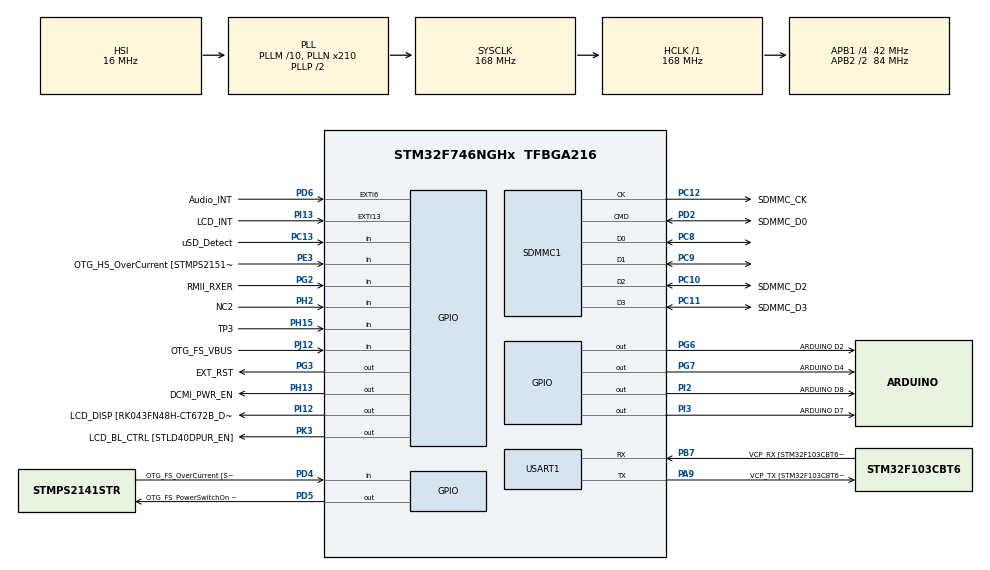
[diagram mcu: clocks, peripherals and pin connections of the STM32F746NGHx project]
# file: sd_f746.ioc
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Dma.Request0=SDMMC1_RX
Dma.Request1=SDMMC1_TX
Dma.SDMMC1_RX.0.Direction=DMA_PERIPH_TO_MEMORY
Dma.SDMMC1_RX.0.FIFOMode=DMA_FIFOMODE_ENABLE
Dma.SDMMC1_RX.0.FIFOThreshold=DMA_FIFO_THRESHOLD_FULL
Dma.SDMMC1_RX.0.Instance=DMA2_Stream3
Dma.SDMMC1_RX.0.MemBurst=DMA_MBURST_INC4
Dma.SDMMC1_RX.0.MemDataAlignment=DMA_MDATAALIGN_WORD
Dma.SDMMC1_RX.0.MemInc=DMA_MINC_ENABLE
Dma.SDMMC1_RX.0.Mode=DMA_PFCTRL
Dma.SDMMC1_RX.0.PeriphBurst=DMA_PBURST_INC4
Dma.SDMMC1_RX.0.PeriphDataAlignment=DMA_PDATAALIGN_WORD
Dma.SDMMC1_RX.0.PeriphInc=DMA_PINC_DISABLE
Dma.SDMMC1_RX.0.Priority=DMA_PRIORITY_LOW
Dma.SDMMC1_TX.1.Direction=DMA_MEMORY_TO_PERIPH
Dma.SDMMC1_TX.1.FIFOMode=DMA_FIFOMODE_ENABLE
Dma.SDMMC1_TX.1.FIFOThreshold=DMA_FIFO_THRESHOLD_FULL
Dma.SDMMC1_TX.1.Instance=DMA2_Stream6
Dma.SDMMC1_TX.1.MemBurst=DMA_MBURST_INC4
Dma.SDMMC1_TX.1.MemDataAlignment=DMA_MDATAALIGN_WORD
Dma.SDMMC1_TX.1.MemInc=DMA_MINC_ENABLE
Dma.SDMMC1_TX.1.Mode=DMA_PFCTRL
Dma.SDMMC1_TX.1.PeriphBurst=DMA_PBURST_INC4
Dma.SDMMC1_TX.1.PeriphDataAlignment=DMA_PDATAALIGN_WORD
Dma.SDMMC1_TX.1.PeriphInc=DMA_PINC_DISABLE
Dma.SDMMC1_TX.1.Priority=DMA_PRIORITY_LOW
FATFS.BSP.number=1
FATFS0.BSP.STBoard=false
FATFS0.BSP.api=Unknown
FATFS0.BSP.instance=PC13
FATFS0.BSP.ip=GPIO
FATFS0.BSP.mode=Input
FATFS0.BSP.name=Detect_SDIO
FATFS0.BSP.solution=PC13
FREERTOS.Tasks01=defaultTask,24,1024,StartDefaultTask,Default,NULL,Dynamic,NULL,NULL
Mcu.Family=STM32F7
Mcu.Name=STM32F746NGHx
Mcu.Package=TFBGA216
NVIC.DMA2_Stream3_IRQn=true\:5\:0\:false\:false\:true\:true\:false\:true\:true
NVIC.DMA2_Stream6_IRQn=true\:5\:0\:false\:false\:true\:true\:false\:true\:true
NVIC.PriorityGroup=NVIC_PRIORITYGROUP_4
NVIC.SDMMC1_IRQn=true\:5\:0\:false\:false\:true\:true\:true\:true\:true
NVIC.TIM6_DAC_IRQn=true\:15\:0\:false\:false\:true\:false\:false\:true\:true
NVIC.TimeBase=TIM6_DAC_IRQn
NVIC.TimeBaseIP=TIM6
PA0/WKUP.GPIO_Label=ARDUINO A0
PA0/WKUP.GPIO_Mode=GPIO_MODE_ANALOG
PA0/WKUP.GPIO_PuPd=GPIO_NOPULL
PA0/WKUP.Signal=ADCx_IN0
PA1.GPIO_Label=RMII_REF_CLK [LAN8742A-CZ-TR_REFCLK0]
PA1.Signal=ETH_REF_CLK
PA10.GPIO_Label=OTG_FS_ID
PA10.Signal=USB_OTG_FS_ID
PA11.GPIO_Label=OTG_FS_N
PA11.Signal=USB_OTG_FS_DM
PA12.GPIO_Label=OTG_FS_P
PA12.Signal=USB_OTG_FS_DP
PA13.GPIO_Label=SWDIO
PA13.Mode=Trace_Asynchronous_SW
PA13.Signal=SYS_JTMS-SWDIO
PA14.GPIO_Label=SWCLK
PA14.Mode=Trace_Asynchronous_SW
PA14.Signal=SYS_JTCK-SWCLK
PA15.GPIO_Label=ARDUINO PWM/D9
PA15.GPIO_ModeDefaultPP=GPIO_MODE_AF_PP
PA15.GPIO_PuPd=GPIO_NOPULL
PA15.GPIO_Speed=GPIO_SPEED_FREQ_LOW
PA15.Signal=S_TIM2_CH1_ETR
PA2.GPIO_Label=RMII_MDIO [LAN8742A-CZ-TR_MDIO]
PA2.Signal=ETH_MDIO
PA3.GPIO_Label=ULPI_D0 [USB3320C-EZK_D0]
PA3.Signal=USB_OTG_HS_ULPI_D0
PA4.GPIO_Label=DCMI_HSYNC
PA4.Signal=DCMI_HSYNC
PA5.GPIO_Label=ULPI_CLK [USB3320C-EZK_CLKOUT]
PA5.Signal=USB_OTG_HS_ULPI_CK
PA6.Signal=DCMI_PIXCLK
PA7.GPIO_Label=RMII_CRS_DV [LAN8742A-CZ-TR_CRS_DV]
PA7.Signal=ETH_CRS_DV
PA8.GPIO_Label=ARDUINO PWM/D10
PA8.GPIO_ModeDefaultPP=GPIO_MODE_AF_PP
PA8.GPIO_PuPd=GPIO_NOPULL
PA8.GPIO_Speed=GPIO_SPEED_FREQ_LOW
PA8.Signal=S_TIM1_CH1
PA9.GPIO_Label=VCP_TX [STM32F103CBT6_PA3]
PA9.GPIO_Mode=GPIO_MODE_AF_PP
PA9.GPIO_PuPd=GPIO_NOPULL
PA9.GPIO_Speed=GPIO_SPEED_FREQ_LOW
PA9.Mode=Asynchronous
PA9.Signal=USART1_TX
PB0.GPIO_Label=ULPI_D1 [USB3320C-EZK_D1]
PB0.Signal=USB_OTG_HS_ULPI_D1
PB1.GPIO_Label=ULPI_D2 [USB3320C-EZK_D2]
PB1.Signal=USB_OTG_HS_ULPI_D2
PB10.GPIO_Label=ULPI_D3 [USB3320C-EZK_D3]
PB10.Signal=USB_OTG_HS_ULPI_D3
PB11.GPIO_Label=ULPI_D4 [USB3320C-EZK_D4]
PB11.Signal=USB_OTG_HS_ULPI_D4
PB12.GPIO_Label=ULPI_D5 [USB3320C-EZK_D5]
PB12.Signal=USB_OTG_HS_ULPI_D5
PB13.GPIO_Label=ULPI_D6 [USB3320C-EZK_D6]
PB13.Signal=USB_OTG_HS_ULPI_D6
PB14.GPIO_Label=ARDUINO MISO/D12
PB14.GPIO_Mode=GPIO_MODE_AF_PP
PB14.GPIO_PuPd=GPIO_NOPULL
PB14.GPIO_Speed=GPIO_SPEED_FREQ_LOW
PB14.Signal=SPI2_MISO
PB15.GPIO_Label=ARDUINO MOSI/PWM/D11
PB15.GPIO_Mode=GPIO_MODE_AF_PP
PB15.GPIO_PuPd=GPIO_NOPULL
PB15.GPIO_Speed=GPIO_SPEED_FREQ_LOW
PB15.Signal=SPI2_MOSI
PB2.Signal=QUADSPI_CLK
PB3.GPIO_Label=SWO
PB3.Mode=Trace_Asynchronous_SW
PB3.Signal=SYS_JTDO-SWO
PB4.GPIO_Label=ARDUINO PWM/D3
PB4.GPIO_ModeDefaultPP=GPIO_MODE_AF_PP
PB4.GPIO_PuPd=GPIO_NOPULL
PB4.GPIO_Speed=GPIO_SPEED_FREQ_LOW
PB4.Signal=S_TIM3_CH1
PB5.GPIO_Label=ULPI_D7 [USB3320C-EZK_D7]
PB5.Signal=USB_OTG_HS_ULPI_D7
PB6.GPIO_Label=QSPI_NCS [N25Q128A13EF840E_S]
PB6.Signal=QUADSPI_BK1_NCS
PB7.GPIO_Label=VCP_RX [STM32F103CBT6_PA2]
PB7.GPIO_Mode=GPIO_MODE_AF_PP
PB7.GPIO_PuPd=GPIO_NOPULL
PB7.GPIO_Speed=GPIO_SPEED_FREQ_LOW
PB7.Mode=Asynchronous
PB7.Signal=USART1_RX
PB8.GPIO_Label=ARDUINO SCL/D15
PB8.GPIO_Mode=GPIO_MODE_AF_OD
PB8.GPIO_PuPd=GPIO_NOPULL
PB8.GPIO_Speed=GPIO_SPEED_FREQ_LOW
PB8.Signal=I2C1_SCL
PB9.GPIO_Label=ARDUINO SDA/D14
PB9.GPIO_Mode=GPIO_MODE_AF_OD
PB9.GPIO_PuPd=GPIO_NOPULL
PB9.GPIO_Speed=GPIO_SPEED_FREQ_LOW
PB9.Signal=I2C1_SDA
PC0.GPIO_Label=ULPI_STP [USB3320C-EZK_STP]
PC0.Signal=USB_OTG_HS_ULPI_STP
PC1.GPIO_Label=RMII_MDC [LAN8742A-CZ-TR_MDC]
PC1.Signal=ETH_MDC
PC10.GPIO_Label=SDMMC_D2
PC10.Mode=SD_4_bits_Wide_bus
PC10.Signal=SDMMC1_D2
PC11.GPIO_Label=SDMMC_D3
PC11.Mode=SD_4_bits_Wide_bus
PC11.Signal=SDMMC1_D3
PC12.GPIO_Label=SDMMC_CK
PC12.Mode=SD_4_bits_Wide_bus
PC12.Signal=SDMMC1_CK
PC13.GPIO_Label=uSD_Detect
PC13.Signal=GPIO_Input
PC14/OSC32_IN.GPIO_Label=RCC_OSC32_IN
PC14/OSC32_IN.Signal=RCC_OSC32_IN
PC15/OSC32_OUT.GPIO_Label=RCC_OSC32_OUT
PC15/OSC32_OUT.Signal=RCC_OSC32_OUT
PC2.GPIO_Label=ULPI_DIR [USB3320C-EZK_DIR]
PC2.Signal=USB_OTG_HS_ULPI_DIR
PC3.GPIO_Label=FMC_SDCKE0 [MT48LC4M32B2B5-6A_CKE]
PC3.Signal=FMC_SDCKE0
PC4.GPIO_Label=RMII_RXD0 [LAN8742A-CZ-TR_RXD0]
PC4.Signal=ETH_RXD0
PC5.GPIO_Label=RMII_RXD1 [LAN8742A-CZ-TR_RXD1]
PC5.Signal=ETH_RXD1
PC6.GPIO_Label=ARDUINO TX/D1
PC6.Signal=USART6_TX
PC7.GPIO_Label=ARDUINO RX/D0
PC7.Signal=USART6_RX
PC8.Mode=SD_4_bits_Wide_bus
PC8.Signal=SDMMC1_D0
PC9.Mode=SD_4_bits_Wide_bus
PC9.Signal=SDMMC1_D1
PD0.GPIO_Label=FMC_D2 [MT48LC4M32B2B5-6A_DQ2]
PD0.Signal=FMC_D2_DA2
PD1.GPIO_Label=FMC_D3 [MT48LC4M32B2B5-6A_DQ3]
PD1.Signal=FMC_D3_DA3
PD10.GPIO_Label=FMC_D15 [MT48LC4M32B2B5-6A_DQ15]
PD10.Signal=FMC_D15_DA15
PD11.GPIO_Label=QSPI_D0 [N25Q128A13EF840E_DQ0]
PD11.Signal=QUADSPI_BK1_IO0
PD12.GPIO_Label=QSPI_D1 [N25Q128A13EF840E_DQ1]
PD12.Signal=QUADSPI_BK1_IO1
PD13.GPIO_Label=QSPI_D3 [N25Q128A13EF840E_DQ3]
PD13.Signal=QUADSPI_BK1_IO3
PD14.GPIO_Label=FMC_D0 [MT48LC4M32B2B5-6A_DQ0]
PD14.Signal=FMC_D0_DA0
PD15.GPIO_Label=FMC_D1 [MT48LC4M32B2B5-6A_DQ1]
PD15.Signal=FMC_D1_DA1
PD2.GPIO_Label=SDMMC_D0
PD2.Mode=SD_4_bits_Wide_bus
PD2.Signal=SDMMC1_CMD
PD3.GPIO_Label=DCMI_D5
PD3.Signal=DCMI_D5
PD4.GPIO_Label=OTG_FS_OverCurrent [STMPS2141STR_Fault]
PD4.Signal=GPIO_Input
PD5.GPIO_Label=OTG_FS_PowerSwitchOn [STMPS2141STR_EN]
PD5.PinState=GPIO_PIN_SET
PD5.Signal=GPIO_Output
PD6.GPIO_Label=Audio_INT
PD6.GPIO_ModeDefaultEXTI=GPIO_MODE_EVT_RISING
PD6.Signal=GPXTI6
PD7.GPIO_Label=SPDIF_RX0 [74LVC1G04SE_4]
PD7.Signal=SPDIFRX_IN0
PD8.GPIO_Label=FMC_D13 [MT48LC4M32B2B5-6A_DQ13]
PD8.Signal=FMC_D13_DA13
PD9.GPIO_Label=FMC_D14 [MT48LC4M32B2B5-6A_DQ14]
PD9.Signal=FMC_D14_DA14
PE0.GPIO_Label=FMC_NBL0 [MT48LC4M32B2B5-6A_DQM0]
PE0.Signal=FMC_NBL0
PE1.GPIO_Label=FMC_NBL1 [MT48LC4M32B2B5-6A_DQM1]
PE1.Signal=FMC_NBL1
PE10.GPIO_Label=FMC_D7 [MT48LC4M32B2B5-6A_DQ7]
PE10.Signal=FMC_D7_DA7
PE11.GPIO_Label=FMC_D8 [MT48LC4M32B2B5-6A_DQ8]
PE11.Signal=FMC_D8_DA8
PE12.GPIO_Label=FMC_D9 [MT48LC4M32B2B5-6A_DQ9]
PE12.Signal=FMC_D9_DA9
PE13.GPIO_Label=FMC_D10 [MT48LC4M32B2B5-6A_DQ10]
PE13.Signal=FMC_D10_DA10
PE14.GPIO_Label=FMC_D11 [MT48LC4M32B2B5-6A_DQ11]
PE14.Signal=FMC_D11_DA11
PE15.GPIO_Label=FMC_D12 [MT48LC4M32B2B5-6A_DQ12]
PE15.Signal=FMC_D12_DA12
PE2.GPIO_Label=QSPI_D2 [N25Q128A13EF840E_DQ2]
PE2.Signal=QUADSPI_BK1_IO2
PE3.GPIO_Label=OTG_HS_OverCurrent [STMPS2151STR_FAULT]
PE3.Signal=GPIO_Input
PE4.GPIO_Label=LCD_B0 [RK043FN48H-CT672B_B0]
PE4.Signal=LTDC_B0
PE5.GPIO_Label=DCMI_D6
PE5.Signal=DCMI_D6
PE6.GPIO_Label=DCMI_D7
PE6.Signal=DCMI_D7
PE7.GPIO_Label=FMC_D4 [MT48LC4M32B2B5-6A_DQ4]
PE7.Signal=FMC_D4_DA4
PE8.GPIO_Label=FMC_D5 [MT48LC4M32B2B5-6A_DQ5]
PE8.Signal=FMC_D5_DA5
PE9.GPIO_Label=FMC_D6 [MT48LC4M32B2B5-6A_DQ6]
PE9.Signal=FMC_D6_DA6
PF0.GPIO_Label=FMC_A0 [MT48LC4M32B2B5-6A_A0]
PF0.Signal=FMC_A0
PF1.GPIO_Label=FMC_A1 [MT48LC4M32B2B5-6A_A1]
PF1.Signal=FMC_A1
PF10.GPIO_Label=ARDUINO A1
PF10.GPIO_Mode=GPIO_MODE_ANALOG
PF10.GPIO_PuPd=GPIO_NOPULL
PF10.Signal=ADC3_IN8
PF11.GPIO_Label=FMC_SDNRAS [MT48LC4M32B2B5-6A_RAS]
PF11.Signal=FMC_SDNRAS
PF12.GPIO_Label=FMC_A6 [MT48LC4M32B2B5-6A_A6]
PF12.Signal=FMC_A6
PF13.GPIO_Label=FMC_A7 [MT48LC4M32B2B5-6A_A7]
PF13.Signal=FMC_A7
PF14.GPIO_Label=FMC_A8 [MT48LC4M32B2B5-6A_A8]
PF14.Signal=FMC_A8
PF15.GPIO_Label=FMC_A9 [MT48LC4M32B2B5-6A_A9]
PF15.Signal=FMC_A9
PF2.GPIO_Label=FMC_A2 [MT48LC4M32B2B5-6A_A2]
PF2.Signal=FMC_A2
PF3.GPIO_Label=FMC_A3 [MT48LC4M32B2B5-6A_A3]
PF3.Signal=FMC_A3
PF4.GPIO_Label=FMC_A4 [MT48LC4M32B2B5-6A_A4]
PF4.Signal=FMC_A4
PF5.GPIO_Label=FMC_A5 [MT48LC4M32B2B5-6A_A5]
PF5.Signal=FMC_A5
PF6.GPIO_Label=ARDUINO A5
PF6.GPIO_Mode=GPIO_MODE_ANALOG
PF6.GPIO_PuPd=GPIO_NOPULL
PF6.Signal=ADC3_IN4
PF7.GPIO_Label=ARDUINO A4
PF7.GPIO_Mode=GPIO_MODE_ANALOG
PF7.GPIO_PuPd=GPIO_NOPULL
PF7.Signal=ADC3_IN5
PF8.GPIO_Label=ARDUINO A3
PF8.GPIO_Mode=GPIO_MODE_ANALOG
PF8.GPIO_PuPd=GPIO_NOPULL
PF8.Signal=ADC3_IN6
PF9.GPIO_Label=ARDUINO A2
PF9.GPIO_Mode=GPIO_MODE_ANALOG
PF9.GPIO_PuPd=GPIO_NOPULL
PF9.Signal=ADC3_IN7
PG0.GPIO_Label=FMC_A10 [MT48LC4M32B2B5-6A_A10]
PG0.Signal=FMC_A10
PG1.GPIO_Label=FMC_A11 [MT48LC4M32B2B5-6A_A11]
PG1.Signal=FMC_A11
PG10.GPIO_Label=SAI2_SDB [WM8994ECS/R_ADCDAT1]
PG10.Signal=SAI2_SD_B
PG11.GPIO_Label=RMII_TX_EN [LAN8742A-CZ-TR_TXEN]
PG11.Signal=ETH_TX_EN
PG12.GPIO_Label=LCD_B4 [RK043FN48H-CT672B_B4]
PG12.Signal=LTDC_B4
PG13.GPIO_Label=RMII_TXD0 [LAN8742A-CZ-TR_TXD0]
PG13.Signal=ETH_TXD0
PG14.GPIO_Label=RMII_TXD1 [LAN8742A-CZ-TR_TXD1]
PG14.Signal=ETH_TXD1
PG15.GPIO_Label=FMC_SDNCAS [MT48LC4M32B2B5-6A_CAS]
PG15.Signal=FMC_SDNCAS
PG2.GPIO_Label=RMII_RXER
PG2.Signal=GPIO_Input
PG3.GPIO_Label=EXT_RST
PG3.Signal=GPIO_Output
PG4.GPIO_Label=FMC_BA0 [MT48LC4M32B2B5-6A_BA0]
PG4.Signal=FMC_A14_BA0
PG5.GPIO_Label=FMC_BA1 [MT48LC4M32B2B5-6A_BA1]
PG5.Signal=FMC_A15_BA1
PG6.GPIO_Label=ARDUINO D2
PG6.Signal=GPIO_Output
PG7.GPIO_Label=ARDUINO D4
PG7.Signal=GPIO_Output
PG8.GPIO_Label=FMC_SDCLK [MT48LC4M32B2B5-6A_CLK]
PG8.Signal=FMC_SDCLK
PG9.GPIO_Label=DCMI_VSYNC
PG9.Signal=DCMI_VSYNC
PH0/OSC_IN.GPIO_Label=OSC_25M [NZ2520SB-25.00M_OUT]
PH0/OSC_IN.Mode=HSE-External-Oscillator
PH0/OSC_IN.Signal=RCC_OSC_IN
PH1/OSC_OUT.Mode=HSE-External-Oscillator
PH1/OSC_OUT.Signal=RCC_OSC_OUT
PH10.GPIO_Label=DCMI_D1
PH10.Signal=DCMI_D1
PH11.GPIO_Label=DCMI_D2
PH11.Signal=DCMI_D2
PH12.GPIO_Label=DCMI_D3
PH12.Signal=DCMI_D3
PH13.GPIO_Label=DCMI_PWR_EN
PH13.Signal=GPIO_Output
PH14.GPIO_Label=DCMI_D4
PH14.Signal=DCMI_D4
PH15.GPIO_Label=TP3
PH15.Signal=GPIO_Input
PH2.GPIO_Label=NC2
PH2.Signal=GPIO_Input
PH3.GPIO_Label=FMC_SDNE0 [MT48LC4M32B2B5-6A_CS]
PH3.Signal=FMC_SDNE0
PH4.GPIO_Label=ULPI_NXT [USB3320C-EZK_NXT]
PH4.Signal=USB_OTG_HS_ULPI_NXT
PH5.GPIO_Label=FMC_SDNME [MT48LC4M32B2B5-6A_WE]
PH5.Signal=FMC_SDNWE
PH6.GPIO_Label=ARDUINO PWM/D6
PH6.Signal=S_TIM12_CH1
PH7.GPIO_Label=LCD_SCL [RK043FN48H-CT672B_SCL]
PH7.Signal=I2C3_SCL
PH8.GPIO_Label=LCD_SDA [RK043FN48H-CT672B_SDA]
PH8.Signal=I2C3_SDA
PH9.GPIO_Label=DCMI_D0
PH9.Signal=DCMI_D0
PI0.GPIO_Label=ARDUINO PWM/CS/D5
PI0.GPIO_ModeDefaultPP=GPIO_MODE_AF_PP
PI0.GPIO_PuPd=GPIO_NOPULL
PI0.GPIO_Speed=GPIO_SPEED_FREQ_LOW
PI0.Signal=S_TIM5_CH4
PI1.GPIO_Label=ARDUINO SCK/D13
PI1.GPIO_Mode=GPIO_MODE_AF_PP
PI1.GPIO_PuPd=GPIO_NOPULL
PI1.GPIO_Speed=GPIO_SPEED_FREQ_LOW
PI1.Signal=SPI2_SCK
PI10.GPIO_Label=LCD_HSYNC [RK043FN48H-CT672B_HSYNC]
PI10.Signal=LTDC_HSYNC
PI12.GPIO_Label=LCD_DISP [RK043FN48H-CT672B_DISP] 
PI12.Signal=GPIO_Output
PI13.GPIO_Label=LCD_INT
PI13.GPIO_ModeDefaultEXTI=GPIO_MODE_EVT_RISING
PI13.Signal=GPXTI13
PI14.GPIO_Label=LCD_CLK [RK043FN48H-CT672B_CLK]
PI14.Signal=LTDC_CLK
PI15.GPIO_Label=LCD_R0 [RK043FN48H-CT672B_R0]
PI15.Signal=LTDC_R0
PI2.GPIO_Label=ARDUINO D8
PI2.Signal=GPIO_Output
PI3.GPIO_Label=ARDUINO D7
PI3.Signal=GPIO_Output
PI4.GPIO_Label=SAI2_MCLKA [WM8994ECS/R_MCLK1]
PI4.Signal=SAI2_MCLK_A
PI5.GPIO_Label=SAI2_SCKA [WM8994ECS/R_BCLK1]
PI5.Signal=SAI2_SCK_A
PI6.GPIO_Label=SAI2_SDA [WM8994ECS/R_DACDAT1]
PI6.Signal=SAI2_SD_A
PI7.GPIO_Label=SAI2_FSA [WM8994ECS/R_LRCLK1]
PI7.Signal=SAI2_FS_A
PI8.GPIO_Label=NC1 [TP2]
PI8.Signal=RTC_TS
PI9.GPIO_Label=LCD_VSYNC [RK043FN48H-CT672B_VSYNC]
PI9.Signal=LTDC_VSYNC
PJ0.GPIO_Label=LCD_R1 [RK043FN48H-CT672B_R1]
PJ0.Signal=LTDC_R1
PJ1.GPIO_Label=LCD_R2 [RK043FN48H-CT672B_R2]
PJ1.Signal=LTDC_R2
PJ10.GPIO_Label=LCD_G3 [RK043FN48H-CT672B_G3]
PJ10.Signal=LTDC_G3
PJ11.GPIO_Label=LCD_G4 [RK043FN48H-CT672B_G4]
PJ11.Signal=LTDC_G4
PJ12.GPIO_Label=OTG_FS_VBUS
PJ12.Signal=GPIO_Input
PJ13.GPIO_Label=LCD_B1 [RK043FN48H-CT672B_B1]
PJ13.Signal=LTDC_B1
PJ14.GPIO_Label=LCD_B2 [RK043FN48H-CT672B_B2]
PJ14.Signal=LTDC_B2
PJ15.GPIO_Label=LCD_B3 [RK043FN48H-CT672B_B3]
PJ15.Signal=LTDC_B3
PJ2.GPIO_Label=LCD_R3 [RK043FN48H-CT672B_R3]
PJ2.Signal=LTDC_R3
PJ3.GPIO_Label=LCD_R4 [RK043FN48H-CT672B_R4]
PJ3.Signal=LTDC_R4
PJ4.GPIO_Label=LCD_R5 [RK043FN48H-CT672B_R5]
PJ4.Signal=LTDC_R5
PJ5.GPIO_Label=LCD_R6 [RK043FN48H-CT672B_R6]
PJ5.Signal=LTDC_R6
PJ6.GPIO_Label=LCD_R7 [RK043FN48H-CT672B_R7]
PJ6.Signal=LTDC_R7
PJ7.GPIO_Label=LCD_G0 [RK043FN48H-CT672B_G0]
PJ7.Signal=LTDC_G0
PJ8.GPIO_Label=LCD_G1 [RK043FN48H-CT672B_G1]
PJ8.Signal=LTDC_G1
PJ9.GPIO_Label=LCD_G2 [RK043FN48H-CT672B_G2]
PJ9.Signal=LTDC_G2
PK0.GPIO_Label=LCD_G5 [RK043FN48H-CT672B_G5]
PK0.Signal=LTDC_G5
PK1.GPIO_Label=LCD_G6 [RK043FN48H-CT672B_G6]
PK1.Signal=LTDC_G6
PK2.GPIO_Label=LCD_G7 [RK043FN48H-CT672B_G7]
PK2.Signal=LTDC_G7
PK3.GPIO_Label=LCD_BL_CTRL [STLD40DPUR_EN]
PK3.Signal=GPIO_Output
PK4.GPIO_Label=LCD_B5 [RK043FN48H-CT672B_B5]
PK4.Signal=LTDC_B5
PK5.GPIO_Label=LCD_B6 [RK043FN48H-CT672B_B6]
PK5.Signal=LTDC_B6
PK6.GPIO_Label=LCD_B7 [RK043FN48H-CT672B_B7]
PK6.Signal=LTDC_B7
PK7.GPIO_Label=LCD_DE [RK043FN48H-CT672B_DE]
PK7.Signal=LTDC_DE
ProjectManager.HeapSize=0x200
ProjectManager.StackSize=0x400
ProjectManager.TargetToolchain=CMake
RCC.AHBFreq_Value=168000000
RCC.APB1CLKDivider=RCC_HCLK_DIV4
RCC.APB1Freq_Value=42000000
RCC.APB1TimFreq_Value=84000000
RCC.APB2CLKDivider=RCC_HCLK_DIV2
RCC.APB2Freq_Value=84000000
RCC.APB2TimFreq_Value=168000000
RCC.CortexFreq_Value=168000000
RCC.HCLKFreq_Value=168000000
RCC.HSE_VALUE=25000000
RCC.HSI_VALUE=16000000
RCC.LSE_VALUE=32768
RCC.PLL48CLockSelection=RCC_CLK48SOURCE_PLLSAIP
RCC.PLLM=10
RCC.PLLN=210
RCC.PLLQ=7
RCC.PLLSAIN=180
RCC.PLLSAIP=RCC_PLLSAIP_DIV6
RCC.PLLSourceVirtual=RCC_PLLSOURCE_HSI
RCC.SDMMCClockSelection=RCC_SDMMC1CLKSOURCE_CLK48
RCC.SYSCLKFreq_VALUE=168000000
RCC.SYSCLKSource=RCC_SYSCLKSOURCE_PLLCLK
RCC.USBFreq_Value=48000000
RCC.VCOOutputFreq_Value=336000000
SH.ADCx_IN0.0=ADC3_IN0
SH.FMC_A0.0=FMC_A0
SH.FMC_A1.0=FMC_A1
SH.FMC_A10.0=FMC_A10
SH.FMC_A11.0=FMC_A11
SH.FMC_A14_BA0.0=FMC_BA0
SH.FMC_A15_BA1.0=FMC_BA1
SH.FMC_A2.0=FMC_A2
SH.FMC_A3.0=FMC_A3
SH.FMC_A4.0=FMC_A4
SH.FMC_A5.0=FMC_A5
SH.FMC_A6.0=FMC_A6
SH.FMC_A7.0=FMC_A7
SH.FMC_A8.0=FMC_A8
SH.FMC_A9.0=FMC_A9
SH.FMC_D0_DA0.0=FMC_D0
SH.FMC_D10_DA10.0=FMC_D10
SH.FMC_D11_DA11.0=FMC_D11
SH.FMC_D12_DA12.0=FMC_D12
SH.FMC_D13_DA13.0=FMC_D13
SH.FMC_D14_DA14.0=FMC_D14
SH.FMC_D15_DA15.0=FMC_D15
SH.FMC_D1_DA1.0=FMC_D1
SH.FMC_D2_DA2.0=FMC_D2
SH.FMC_D3_DA3.0=FMC_D3
SH.FMC_D4_DA4.0=FMC_D4
SH.FMC_D5_DA5.0=FMC_D5
SH.FMC_D6_DA6.0=FMC_D6
SH.FMC_D7_DA7.0=FMC_D7
SH.FMC_D8_DA8.0=FMC_D8
SH.FMC_D9_DA9.0=FMC_D9
SH.FMC_NBL0.0=FMC_NBL0
SH.FMC_NBL1.0=FMC_NBL1
SH.FMC_SDCLK.0=FMC_SDCLK
SH.FMC_SDNCAS.0=FMC_SDNCAS
SH.FMC_SDNRAS.0=FMC_SDNRAS
SH.FMC_SDNWE.0=FMC_SDNWE
SH.S_TIM12_CH1.0=TIM12_CH1
SH.S_TIM1_CH1.0=TIM1_CH1
SH.S_TIM2_CH1_ETR.0=TIM2_CH1
SH.S_TIM3_CH1.0=TIM3_CH1
SH.S_TIM5_CH4.0=TIM5_CH4
USART1.VirtualMode-Asynchronous=VM_ASYNC
VP_FATFS_VS_SDIO.Mode=SDIO
VP_FREERTOS_VS_CMSIS_V2.Mode=CMSIS_V2
VP_SYS_VS_tim6.Mode=TIM6
board=STM32F746G-DISCO

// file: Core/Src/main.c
/* USER CODE BEGIN Header */
/**
 ******************************************************************************
 * @file           : main.c
 * @brief          : Main program body
 ******************************************************************************
 * @attention
 *
 * Copyright (c) 2025 STMicroelectronics.
 * All rights reserved.
 *
 * This software is licensed under terms that can be found in the LICENSE file
 * in the root directory of this software component.
 * If no LICENSE file comes with this software, it is provided AS-IS.
 *
 ******************************************************************************
 */
/* USER CODE END Header */
#include "main.h"
#include "cmsis_os.h"
#include "dma.h"
#include "fatfs.h"
#include "sdmmc.h"
#include "usart.h"
#include "gpio.h"

/* USER CODE BEGIN Includes */
#include <stdio.h>
/* USER CODE END Includes */

void SystemClock_Config(void);
void MX_FREERTOS_Init(void);

/* USER CODE BEGIN 0 */
int _write(int file, char *ptr, int len)
{
	HAL_UART_Transmit(&huart1, (uint8_t*)ptr, len,HAL_MAX_DELAY);
	return len;
}
/* USER CODE END 0 */

int main(void)
{

  /* MCU Configuration--------------------------------------------------------*/

  /* Reset of all peripherals, Initializes the Flash interface and the Systick. */
  HAL_Init();

  /* Configure the system clock */
  SystemClock_Config();

  /* Initialize all configured peripherals */
  MX_GPIO_Init();
  MX_DMA_Init();
  MX_SDMMC1_SD_Init();
  MX_FATFS_Init();
  MX_USART1_UART_Init();
  /* USER CODE BEGIN 2 */
	printf("\r\n==== SD Card Test ====\r\n");
  /* USER CODE END 2 */

  /* Init scheduler */
  osKernelInitialize();  /* Call init function for freertos objects (in cmsis_os2.c) */
  MX_FREERTOS_Init();

  /* Start scheduler */
  osKernelStart();

  /* We should never get here as control is now taken by the scheduler */

  /* Infinite loop */
	while (1)
	{

	}
}

void SystemClock_Config(void)
{
  RCC_OscInitTypeDef RCC_OscInitStruct = {0};
  RCC_ClkInitTypeDef RCC_ClkInitStruct = {0};

  /** Configure the main internal regulator output voltage
  */
  __HAL_RCC_PWR_CLK_ENABLE();
  __HAL_PWR_VOLTAGESCALING_CONFIG(PWR_REGULATOR_VOLTAGE_SCALE2);

  /** Initializes the RCC Oscillators according to the specified parameters
  * in the RCC_OscInitTypeDef structure.
  */
  RCC_OscInitStruct.OscillatorType = RCC_OSCILLATORTYPE_HSI;
  RCC_OscInitStruct.HSIState = RCC_HSI_ON;
  RCC_OscInitStruct.HSICalibrationValue = RCC_HSICALIBRATION_DEFAULT;
  RCC_OscInitStruct.PLL.PLLState = RCC_PLL_ON;
  RCC_OscInitStruct.PLL.PLLSource = RCC_PLLSOURCE_HSI;
  RCC_OscInitStruct.PLL.PLLM = 10;
  RCC_OscInitStruct.PLL.PLLN = 210;
  RCC_OscInitStruct.PLL.PLLP = RCC_PLLP_DIV2;
  RCC_OscInitStruct.PLL.PLLQ = 7;
  if (HAL_RCC_OscConfig(&RCC_OscInitStruct) != HAL_OK)
  {
    Error_Handler();
  }

  /** Initializes the CPU, AHB and APB buses clocks
  */
  RCC_ClkInitStruct.ClockType = RCC_CLOCKTYPE_HCLK|RCC_CLOCKTYPE_SYSCLK
                              |RCC_CLOCKTYPE_PCLK1|RCC_CLOCKTYPE_PCLK2;
  RCC_ClkInitStruct.SYSCLKSource = RCC_SYSCLKSOURCE_PLLCLK;
  RCC_ClkInitStruct.AHBCLKDivider = RCC_SYSCLK_DIV1;
  RCC_ClkInitStruct.APB1CLKDivider = RCC_HCLK_DIV4;
  RCC_ClkInitStruct.APB2CLKDivider = RCC_HCLK_DIV2;

  if (HAL_RCC_ClockConfig(&RCC_ClkInitStruct, FLASH_LATENCY_5) != HAL_OK)
  {
    Error_Handler();
  }
}

void HAL_TIM_PeriodElapsedCallback(TIM_HandleTypeDef *htim)
{
  if (htim->Instance == TIM6)
  {
    HAL_IncTick();
  }
}

void Error_Handler(void)
{
	__disable_irq();
	while (1)
	{
	}
}

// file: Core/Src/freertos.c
/* USER CODE BEGIN Header */
/**
 ******************************************************************************
 * File Name          : freertos.c
 * Description        : Code for freertos applications
 ******************************************************************************
 * @attention
 *
 * Copyright (c) 2025 STMicroelectronics.
 * All rights reserved.
 *
 * This software is licensed under terms that can be found in the LICENSE file
 * in the root directory of this software component.
 * If no LICENSE file comes with this software, it is provided AS-IS.
 *
 ******************************************************************************
 */
/* USER CODE END Header */

#include "FreeRTOS.h"
#include "task.h"
#include "main.h"
#include "cmsis_os.h"

/* USER CODE BEGIN Includes */
#include <stdio.h>
#include <string.h>
#include "fatfs.h"
/* USER CODE END Includes */

/* USER CODE BEGIN Variables */
FATFS fs;
/* USER CODE END Variables */
/* Definitions for defaultTask */
osThreadId_t defaultTaskHandle;
const osThreadAttr_t defaultTask_attributes = {
		.name = "defaultTask",
		.stack_size = 1024 * 4,
		.priority = (osPriority_t) osPriorityNormal,
};

/* USER CODE BEGIN FunctionPrototypes */
FRESULT sd_ls(const char *path);
/* USER CODE END FunctionPrototypes */

void StartDefaultTask(void *argument);

void MX_FREERTOS_Init(void); /* (MISRA C 2004 rule 8.1) */

void MX_FREERTOS_Init(void) {

	/* Create the thread(s) */
	/* creation of defaultTask */
	defaultTaskHandle = osThreadNew(StartDefaultTask, NULL, &defaultTask_attributes);

}

void StartDefaultTask(void *argument)
{
	/* USER CODE BEGIN StartDefaultTask */
	printf("Entering Default Task\r\n");

	FRESULT res = f_mount(&fs, "", 1);
	if (res != FR_OK)
	{
		printf("Error mounting device %d\r\n", res);
		Error_Handler();
	}
	printf("fs mounted\r\n");

	res = sd_ls("/");
	if (res != FR_OK)
	{
		printf("Error sd_ls %d\r\n", res);
		Error_Handler();
	}
	printf("ls\r\n");

	FIL f;
	res = f_open(&f, "test.txt", FA_WRITE | FA_CREATE_ALWAYS);	// Or FA_CREATE_ALWAYS ?
	if (res != FR_OK)
	{
		printf("Error f_open %d\r\n", res);
		Error_Handler();
	}

	static char str[] = "Hello,world\r\n";

	UINT bw;
	res = f_write(&f, str, strlen(str), &bw);
	if (res != FR_OK)
	{
		printf("Error f_write %d\r\n", res);
		Error_Handler();
	}

	printf("written %u/%d\r\n", bw, strlen(str));

	res = f_close(&f);
	if (res != FR_OK)
	{
		printf("Error f_close %d\r\n", res);
		Error_Handler();
	}
	/* Infinite loop */
	for(;;)
	{
		osDelay(1);
	}
	/* USER CODE END StartDefaultTask */
}

/* USER CODE BEGIN Application */
FRESULT sd_ls(const char *path)
{
	FRESULT res;
	DIR dir;
	FILINFO fno;

	res = f_opendir(&dir, path);  // Ouvre le répertoire
	if (res == FR_OK)
	{
		while (1)
		{
			res = f_readdir(&dir, &fno);
			if (res != FR_OK || fno.fname[0] == 0)
			{
				break; // Fin
			}
			printf("%s%s\r\n", fno.fname, (fno.fattrib & AM_DIR) ? "/" : "");
		}
		return f_closedir(&dir);
	}

	return res;
}
/* USER CODE END Application */
